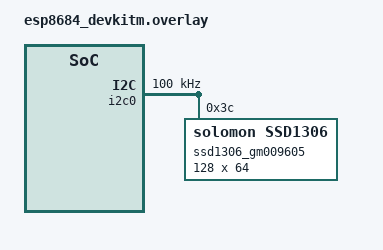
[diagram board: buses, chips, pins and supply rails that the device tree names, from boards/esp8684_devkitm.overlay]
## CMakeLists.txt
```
# SPDX-License-Identifier: Apache-2.0

cmake_minimum_required(VERSION 3.20.0)

find_package(Zephyr REQUIRED HINTS $ENV{ZEPHYR_BASE})
project(display_lvgl)

FILE(GLOB app_sources src/*.c)
target_sources(app PRIVATE ${app_sources})
```

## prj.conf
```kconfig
CONFIG_LV_Z_MEM_POOL_SIZE=16384
CONFIG_MAIN_STACK_SIZE=4096

CONFIG_DISPLAY=y
CONFIG_I2C=y

CONFIG_LVGL=y
CONFIG_LV_USE_LABEL=y
CONFIG_LV_USE_THEME_DEFAULT=y

CONFIG_LV_COLOR_DEPTH_1=y
CONFIG_LV_Z_BITS_PER_PIXEL=1
CONFIG_LV_Z_VDB_SIZE=64
CONFIG_LV_DPI_DEF=116
CONFIG_LV_USE_IMAGE=y
CONFIG_LV_FONT_UNSCII_8=y
```

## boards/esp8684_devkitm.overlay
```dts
/*
 * Copyright (c) 2026 The Zephyr Project Contributors
 * Copyright (c) 2026 Espressif Systems (Shanghai) Co., Ltd.
 *
 * SPDX-License-Identifier: Apache-2.0
 *
 * GM009605 128x64 OLED (SSD1306 over I2C): SDA GPIO2, SCL GPIO3.
 */

#include <zephyr/dt-bindings/i2c/i2c.h>
#include <zephyr/dt-bindings/pinctrl/esp-pinctrl-common.h>
#include <zephyr/dt-bindings/pinctrl/esp32c2-pinctrl.h>
#include <zephyr/dt-bindings/pinctrl/esp32c2-gpio-sigmap.h>

/ {
	chosen {
		zephyr,display = &ssd1306_gm009605;
	};
};

&pinctrl {
	i2c0_gm009605_default: i2c0_gm009605_default {
		group1 {
			pinmux = <I2C0_SDA_GPIO2>,
				 <I2C0_SCL_GPIO3>;
			bias-pull-up;
			drive-open-drain;
			output-high;
		};
	};
};

&i2c0 {
	status = "okay";
	clock-frequency = <I2C_BITRATE_STANDARD>;
	pinctrl-0 = <&i2c0_gm009605_default>;
	pinctrl-names = "default";

	ssd1306_gm009605: ssd1306@3c {
		compatible = "solomon,ssd1306";
		reg = <0x3c>;
		width = <128>;
		height = <64>;
		segment-offset = <0>;
		page-offset = <0>;
		display-offset = <0>;
		multiplex-ratio = <63>;
		segment-remap;
		com-invdir;
		prechargep = <0x22>;
	};
};
```

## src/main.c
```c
#include <zephyr/device.h>
#include <zephyr/devicetree.h>
#include <zephyr/drivers/display.h>
#include <zephyr/drivers/i2c.h>
#include <lvgl.h>
#include <stdio.h>
#include <zephyr/kernel.h>
/* Include the version header */
#include <zephyr/version.h>

const uint8_t Kite_map[] = {
  0xff, 0xff, 0xff, 0xff,
  0x00, 0x00, 0x00, 0xff,

  0x00, 0x00, 0x00, 0x00, 0x00, 0x00, 0x03, 0xff, 0xff, 0xfe, 
  0x00, 0x00, 0x00, 0x00, 0x00, 0x00, 0x05, 0xff, 0xff, 0xfd, 
  0x00, 0x00, 0x00, 0x00, 0x00, 0x00, 0x0e, 0x7f, 0xff, 0xfb, 
  0x00, 0x00, 0x00, 0x00, 0x00, 0x00, 0x0f, 0xbf, 0xff, 0xf7, 
  0x00, 0x00, 0x00, 0x00, 0x00, 0x00, 0x0f, 0xdf, 0xff, 0xef, 
  0x00, 0x00, 0x00, 0x00, 0x00, 0x00, 0x1f, 0xef, 0xff, 0xdf, 
  0x00, 0x00, 0x00, 0x00, 0x00, 0x00, 0x1f, 0xfb, 0xff, 0xbf, 
  0x00, 0x00, 0x00, 0x00, 0x00, 0x00, 0x1f, 0xfd, 0xff, 0x7f, 
  0x00, 0x00, 0x00, 0x00, 0x00, 0x00, 0x3f, 0xfe, 0xfe, 0xff, 
  0x00, 0x00, 0x00, 0x00, 0x00, 0x00, 0x3f, 0xff, 0x3d, 0xff, 
  0x00, 0x00, 0x00, 0x00, 0x00, 0x00, 0x3f, 0xff, 0xdb, 0xff, 
  0x00, 0x00, 0x00, 0x00, 0x00, 0x00, 0x7f, 0xff, 0xe7, 0xff, 
  0x00, 0x00, 0x00, 0x00, 0x00, 0x00, 0x7f, 0xff, 0xe7, 0xff, 
  0x00, 0x00, 0x00, 0x00, 0x00, 0x00, 0x7f, 0xff, 0xdb, 0xff, 
  0x00, 0x00, 0x00, 0x00, 0x00, 0x00, 0x7f, 0xff, 0xbf, 0xff, 
  0x00, 0x00, 0x00, 0x00, 0x00, 0x00, 0xff, 0xff, 0x7d, 0xff, 
  0x00, 0x00, 0x00, 0x00, 0x00, 0x00, 0xff, 0xfd, 0xfe, 0xff, 
  0x00, 0x00, 0x00, 0x00, 0x00, 0x00, 0xff, 0xfb, 0xff, 0x7f, 
  0x00, 0x00, 0x00, 0x00, 0x00, 0x01, 0xff, 0xf7, 0xff, 0xff, 
  0x00, 0x00, 0x00, 0x00, 0x00, 0x01, 0xff, 0xef, 0xff, 0xbf, 
  0x00, 0x00, 0x00, 0x00, 0x00, 0x01, 0xff, 0xdf, 0xff, 0xdf, 
  0x00, 0x00, 0x00, 0x00, 0x00, 0x03, 0xff, 0xbf, 0xff, 0xef, 
  0x00, 0x00, 0x00, 0x00, 0x00, 0x03, 0xff, 0x7f, 0xff, 0xff, 
  0x00, 0x00, 0x00, 0x00, 0x00, 0x03, 0xfe, 0xff, 0xff, 0xf7, 
  0x00, 0x00, 0x00, 0x00, 0x00, 0x07, 0xfd, 0xff, 0xff, 0xfb, 
  0x00, 0x00, 0x00, 0x00, 0x00, 0x07, 0xfb, 0xff, 0xff, 0xfd, 
  0x00, 0x00, 0x00, 0x00, 0x00, 0x07, 0xf7, 0xff, 0xff, 0xfd, 
  0x00, 0x00, 0x00, 0x00, 0x00, 0x07, 0xef, 0xff, 0xff, 0xfe, 
  0x00, 0x00, 0x00, 0x00, 0x00, 0x0f, 0xdf, 0xff, 0xff, 0xf0, 
  0x03, 0xc0, 0x00, 0x00, 0x00, 0x0f, 0xbf, 0xff, 0xff, 0x00, 
  0x7f, 0x80, 0x00, 0x00, 0x00, 0x1e, 0xff, 0xff, 0xe0, 0x00, 
  0x3f, 0x80, 0x00, 0x00, 0x00, 0x1d, 0xff, 0xfe, 0x00, 0x00, 
  0x1f, 0x80, 0x00, 0x00, 0x00, 0x1b, 0xff, 0xe0, 0x00, 0x00, 
  0x0f, 0x80, 0x00, 0x00, 0x00, 0x17, 0xfc, 0x00, 0x00, 0x00, 
  0x07, 0x80, 0x00, 0x00, 0x00, 0x2f, 0xc0, 0x00, 0x00, 0x00, 
  0x03, 0x80, 0x00, 0x80, 0x00, 0x18, 0x00, 0x00, 0x00, 0x00, 
  0x01, 0x00, 0x00, 0xc0, 0x00, 0x00, 0x00, 0x00, 0x00, 0x00, 
  0x00, 0x00, 0x01, 0xe0, 0x00, 0x80, 0x00, 0x00, 0x00, 0x00, 
  0x00, 0x00, 0x03, 0xf0, 0x03, 0x80, 0x00, 0x00, 0x00, 0x00, 
  0x00, 0x60, 0x03, 0xf8, 0x1f, 0x80, 0x00, 0x00, 0x00, 0x00, 
  0x00, 0x78, 0x07, 0xfc, 0x7f, 0x00, 0x00, 0x00, 0x00, 0x00, 
  0x00, 0x7f, 0x0f, 0xe0, 0xff, 0x00, 0x00, 0x00, 0x00, 0x00, 
  0x00, 0x3f, 0xc0, 0x00, 0x3f, 0x00, 0x00, 0x00, 0x00, 0x00, 
  0x00, 0x3f, 0x80, 0x00, 0x0f, 0x00, 0x00, 0x00, 0x00, 0x00, 
  0x00, 0x3e, 0x00, 0x00, 0x03, 0x00, 0x00, 0x00, 0x00, 0x00, 
  0x00, 0x1c, 0x00, 0x00, 0x00, 0x00, 0x00, 0x00, 0x00, 0x00, 
  0x00, 0x10, 0x00, 0x00, 0x00, 0x00, 0x00, 0x00, 0x00, 0x00, 
};

const lv_image_dsc_t Kite = {
  .header.cf = LV_COLOR_FORMAT_I1,
  .header.w = 80,
  .header.h = 47,
  .header.stride = 10,
  .data_size = sizeof(Kite_map),
  .data = Kite_map,
};

int main(void)
{
    const struct device *display_dev;
    lv_obj_t *version_label;
    lv_obj_t *img;
    
    /* Variables for blinking logic */
    static uint32_t blink_counter = 0;
    static bool show_colon = true;

    display_dev = DEVICE_DT_GET(DT_CHOSEN(zephyr_display));
    if (!device_is_ready(display_dev)) return 0;

    img = lv_image_create(lv_screen_active());
    lv_image_set_src(img, &Kite);
    lv_obj_align(img, LV_ALIGN_CENTER, 0, -8);

    version_label = lv_label_create(lv_screen_active());
    lv_obj_set_style_text_font(version_label, &lv_font_unscii_8, 0);
    lv_obj_set_style_text_color(version_label, lv_color_black(), 0);
    lv_obj_align(version_label, LV_ALIGN_CENTER, 0, 24);

    /* Initial text set */
    lv_label_set_text_fmt(version_label, "Zephyr: %s", KERNEL_VERSION_STRING);

    lv_timer_handler();
    display_blanking_off(display_dev);

    /* Hardware Fix for Black Background */
    const struct device *i2c_bus = DEVICE_DT_GET(DT_NODELABEL(i2c0));
    if (device_is_ready(i2c_bus)) {
        uint8_t cmd[] = {0x00, 0xA7}; 
        i2c_write(i2c_bus, cmd, sizeof(cmd), 0x3c);
    }

    while (1) {
        /* Every 10 iterations (10 * 100ms = 1s), toggle the colon */
        if (blink_counter >= 10) {
            if (show_colon) {
                lv_label_set_text_fmt(version_label, "Zephyr: %s", KERNEL_VERSION_STRING);
            } else {
                /* Use a space instead of a colon to prevent text from shifting */
                lv_label_set_text_fmt(version_label, "Zephyr  %s", KERNEL_VERSION_STRING);
            }
            show_colon = !show_colon;
            blink_counter = 0;
        }

        lv_timer_handler();
        k_sleep(K_MSEC(100));
        blink_counter++;
    }
}
```
